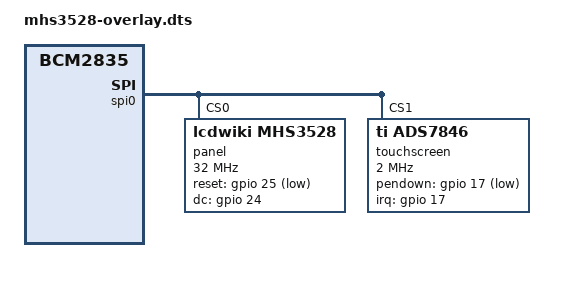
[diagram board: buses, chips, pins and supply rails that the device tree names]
/dts-v1/;
/plugin/;

/ {
	compatible = "brcm,bcm2835";

	fragment@0 {
		target = <&spi0>;

		__overlay__ {
			#address-cells = <1>;
			#size-cells = <0>;
			status = "okay";

			panel@0 {
				compatible = "lcdwiki,mhs3528", "panel-mipi-dbi-spi";
				reg = <0>;
				spi-max-frequency = <32000000>;
				format = "b6x2g6x2r6x2";
				reset-gpios = <&gpio 25 1>;
				dc-gpios = <&gpio 24 0>;
				write-only;
				width-mm = <73>;
				height-mm = <49>;

				panel-timing {
					hactive = <480>;
					vactive = <320>;
					hback-porch = <0>;
					vback-porch = <0>;
					clock-frequency = <0>;
					hfront-porch = <0>;
					hsync-len = <0>;
					vfront-porch = <0>;
					vsync-len = <0>;
				};
			};

			touchscreen@1 {
				compatible = "ti,ads7846";
				reg = <1>;
				pinctrl-names = "default";
				pinctrl-0 = <&mhs3528_touch_pins>;
				spi-max-frequency = <2000000>;
				interrupt-parent = <&gpio>;
				interrupts = <17 2>;
				pendown-gpio = <&gpio 17 1>;
				ti,x-min = /bits/ 16 <227>;
				ti,x-max = /bits/ 16 <3936>;
				ti,y-min = /bits/ 16 <268>;
				ti,y-max = /bits/ 16 <3880>;
				ti,pressure-max = /bits/ 16 <255>;
				ti,x-plate-ohms = /bits/ 16 <60>;
				touchscreen-swapped-x-y;
				touchscreen-inverted-x;
			};
		};
	};

	fragment@1 {
		target = <&spidev0>;

		__overlay__ {
			status = "disabled";
		};
	};

	fragment@2 {
		target = <&spidev1>;

		__overlay__ {
			status = "disabled";
		};
	};

	fragment@3 {
		target = <&gpio>;

		__overlay__ {
			mhs3528_touch_pins: mhs3528_touch_pins {
				brcm,pins = <17>;
				brcm,function = <0>;
				brcm,pull = <2>;
			};
		};
	};
};
